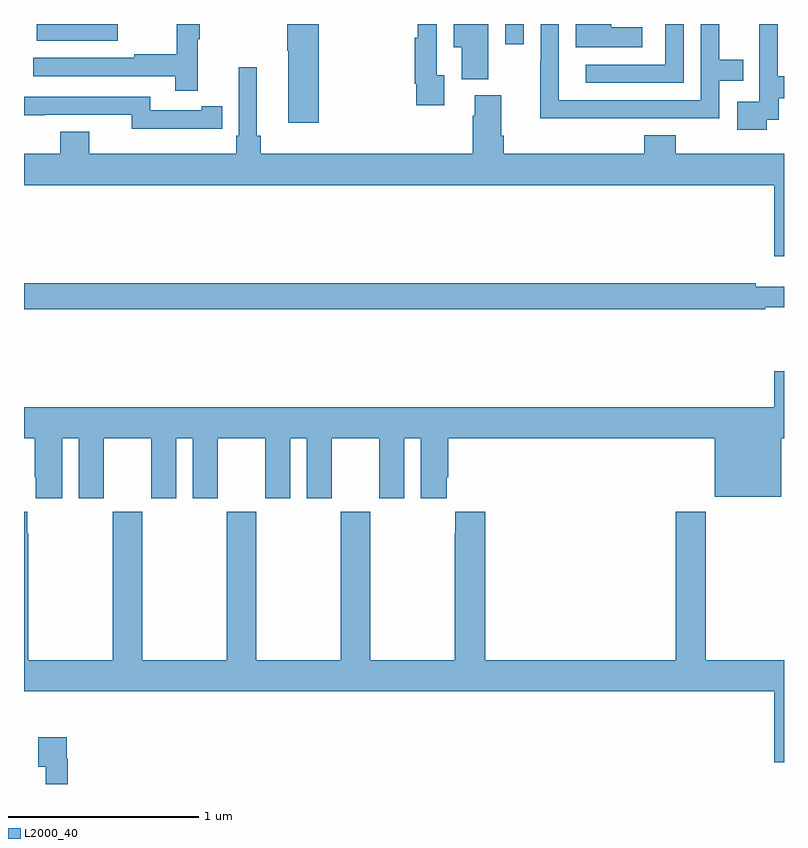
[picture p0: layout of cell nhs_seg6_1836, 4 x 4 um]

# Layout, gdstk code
import gdstk
lib = gdstk.Library(unit=1e-6, precision=1e-09)
def R(c, l, rs):  # rectangles x0, y0, x1, y1
    for r in rs: c.add(gdstk.rectangle(r[:2], r[2:], *l))
def P(c, l, *ps):  # polygons
    for p in ps: c.add(gdstk.Polygon(p, *l))
L2000_40 = (2000, 40)

nhs_seg6_1836 = lib.new_cell('nhs_seg6_1836')
R(nhs_seg6_1836, L2000_40, [(223.533,965.394,223.629,965.5), (221.066,965.411,221.494,965.5)])
P(nhs_seg6_1836, L2000_40, [(224.18,965.004),(224.658,965.004),(224.658,965.202),(224.786,965.202),(224.786,965.311),(224.659,965.311),(224.659,965.5),(224.562,965.5),(224.562,965.1),(223.815,965.1),(223.815,965.5),(223.719,965.5),(223.719,965.306),(223.718,965.306),(223.718,965.003),(224.18,965.003)],
  [(223.444,965.5),(223.262,965.5),(223.262,965.378),(223.304,965.378),(223.304,965.209),(223.444,965.209)],
  [(222.551,965.5),(222.385,965.5),(222.385,965.359),(222.392,965.359),(222.392,964.98),(222.551,964.98)],
  [(224.91,964.995),(224.972,964.995),(224.972,965.109),(225,965.109),(225,965.225),(224.968,965.225),(224.968,965.5),(224.87,965.5),(224.87,965.395),(224.871,965.395),(224.871,965.091),(224.754,965.091),(224.754,964.944),(224.91,964.944)],
  [(224.472,965.5),(224.376,965.5),(224.376,965.286),(223.956,965.286),(223.956,965.19),(224.472,965.19)],
  [(224.254,965.482),(224.091,965.482),(224.091,965.5),(223.904,965.5),(223.904,965.378),(224.254,965.378)],
  [(221.915,965.419),(221.926,965.419),(221.926,965.5),(221.805,965.5),(221.805,965.342),(221.581,965.342),(221.581,965.322),(221.049,965.322),(221.049,965.226),(221.797,965.226),(221.797,965.148),(221.915,965.148)],
  [(223.213,965.229),(223.173,965.229),(223.173,965.5),(223.072,965.5),(223.072,965.427),(223.057,965.427),(223.057,965.185),(223.065,965.185),(223.065,965.073),(223.213,965.073)],
  [(225,964.816),(224.429,964.816),(224.429,964.915),(224.264,964.915),(224.264,964.816),(223.526,964.816),(223.526,964.912),(223.513,964.912),(223.513,965.124),(223.373,965.124),(223.373,965.018),(223.361,965.018),(223.361,964.816),(222.245,964.816),(222.245,964.912),(222.226,964.912),(222.226,965.272),(222.129,965.272),(222.129,964.912),(222.116,964.912),(222.116,964.816),(221.344,964.816),(221.344,964.933),(221.192,964.933),(221.192,964.816),(221,964.816),(221,964.652),(224.948,964.652),(224.948,964.278),(225,964.278)],
  [(221.936,964.95),(222.044,964.95),(222.044,965.066),(221.936,965.066),(221.936,965.046),(221.664,965.046),(221.664,965.118),(221,965.118),(221,965.021),(221.108,965.021),(221.108,965.022),(221.568,965.022),(221.568,964.949),(221.936,964.949)],
  [(224.9,964.008),(225,964.008),(225,964.117),(224.852,964.117),(224.852,964.136),(221,964.136),(221,964),(224.9,964)],
  [(221.2,963.32),(221.288,963.32),(221.288,963.003),(221.419,963.003),(221.419,963.32),(221.669,963.32),(221.669,963.003),(221.8,963.003),(221.8,963.32),(221.888,963.32),(221.888,963.003),(222.019,963.003),(222.019,963.32),(222.269,963.32),(222.269,963.003),(222.4,963.003),(222.4,963.32),(222.488,963.32),(222.488,963.003),(222.619,963.003),(222.619,963.32),(222.869,963.32),(222.869,963.003),(223,963.003),(223,963.32),(223.088,963.32),(223.088,963.003),(223.225,963.003),(223.225,963.115),(223.232,963.115),(223.232,963.32),(224.636,963.32),(224.636,963.011),(224.986,963.011),(224.986,963.32),(225,963.32),(225,963.673),(224.948,963.673),(224.948,963.484),(221,963.484),(221,963.32),(221.057,963.32),(221.057,963.115),(221.063,963.115),(221.063,963.003),(221.2,963.003)],
  [(225,962.152),(224.589,962.152),(224.589,962.932),(224.429,962.932),(224.429,962.152),(223.427,962.152),(223.427,962.932),(223.271,962.932),(223.271,962.819),(223.267,962.819),(223.267,962.152),(222.822,962.152),(222.822,962.932),(222.667,962.932),(222.667,962.152),(222.222,962.152),(222.222,962.932),(222.067,962.932),(222.067,962.152),(221.622,962.152),(221.622,962.932),(221.467,962.932),(221.467,962.152),(221.022,962.152),(221.022,962.819),(221.017,962.819),(221.017,962.932),(221,962.932),(221,961.988),(224.948,961.988),(224.948,961.614),(225,961.614)],
  [(221.231,961.634),(221.224,961.634),(221.224,961.747),(221.075,961.747),(221.075,961.591),(221.115,961.591),(221.115,961.5),(221.231,961.5)])

lib.write_gds('nhs_seg6_1836.gds')
